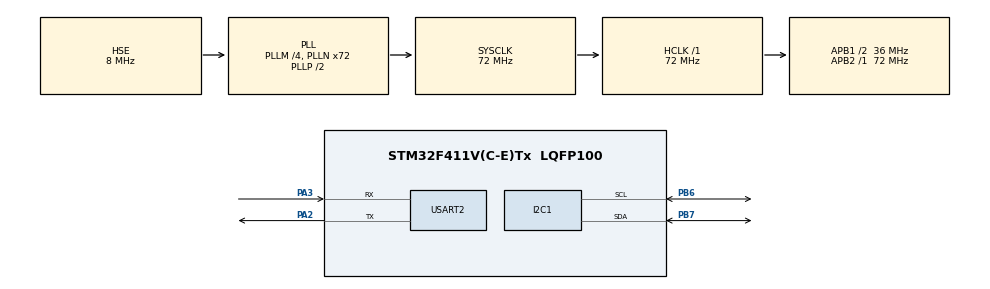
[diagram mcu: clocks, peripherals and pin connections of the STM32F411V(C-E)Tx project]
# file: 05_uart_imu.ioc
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Mcu.Family=STM32F4
Mcu.Name=STM32F411V(C-E)Tx
Mcu.Package=LQFP100
NVIC.PriorityGroup=NVIC_PRIORITYGROUP_4
PA2.Mode=Asynchronous
PA2.Signal=USART2_TX
PA3.Mode=Asynchronous
PA3.Signal=USART2_RX
PB6.Mode=I2C
PB6.Signal=I2C1_SCL
PB7.Mode=I2C
PB7.Signal=I2C1_SDA
PC14-OSC32_IN.Mode=LSE-External-Oscillator
PC14-OSC32_IN.Signal=RCC_OSC32_IN
PC15-OSC32_OUT.Mode=LSE-External-Oscillator
PC15-OSC32_OUT.Signal=RCC_OSC32_OUT
PH0\ -\ OSC_IN.Mode=HSE-External-Oscillator
PH0\ -\ OSC_IN.Signal=RCC_OSC_IN
PH1\ -\ OSC_OUT.Mode=HSE-External-Oscillator
PH1\ -\ OSC_OUT.Signal=RCC_OSC_OUT
ProjectManager.HeapSize=0x200
ProjectManager.StackSize=0x400
ProjectManager.TargetToolchain=MDK-ARM V5.32
RCC.48MHZClocksFreq_Value=36000000
RCC.AHBFreq_Value=72000000
RCC.APB1CLKDivider=RCC_HCLK_DIV2
RCC.APB1Freq_Value=36000000
RCC.APB1TimFreq_Value=72000000
RCC.APB2Freq_Value=72000000
RCC.APB2TimFreq_Value=72000000
RCC.CortexFreq_Value=72000000
RCC.HCLKFreq_Value=72000000
RCC.HSE_VALUE=8000000
RCC.HSI_VALUE=16000000
RCC.PLLM=4
RCC.PLLN=72
RCC.PLLSourceVirtual=RCC_PLLSOURCE_HSE
RCC.SYSCLKFreq_VALUE=72000000
RCC.SYSCLKSource=RCC_SYSCLKSOURCE_PLLCLK
RCC.VCOOutputFreq_Value=144000000
USART2.VirtualMode=VM_ASYNC
board=custom

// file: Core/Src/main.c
/* USER CODE BEGIN Header */
/**
  ******************************************************************************
  * @file           : main.c
  * @brief          : Main program body
  ******************************************************************************
  * @attention
  *
  * Copyright (c) 2025 STMicroelectronics.
  * All rights reserved.
  *
  * This software is licensed under terms that can be found in the LICENSE file
  * in the root directory of this software component.
  * If no LICENSE file comes with this software, it is provided AS-IS.
  *
  ******************************************************************************
  */
/* USER CODE END Header */
#include "main.h"
#include "i2c.h"
#include "usart.h"
#include "gpio.h"

void SystemClock_Config(void);
/* USER CODE BEGIN PFP */

#define PUTCHAR_PROTOTYPE int __io_putchar(int ch)
PUTCHAR_PROTOTYPE
{
  /* Place your implementation of fputc here */
  /* e.g. write a character to the USART1 and Loop until the end of transmission */
  HAL_UART_Transmit(&huart2, (uint8_t *)&ch, 1, 0xFFFF);

  return ch;
}

FILE __stdout;

int fputc(int ch, FILE *f){
	HAL_UART_Transmit(&huart2, (uint8_t *)&ch, 1, 0xFFFF);
  return ch;
}

int ferror(FILE *f){
  /* Your implementation of ferror(). */
  return 0;
}
/* USER CODE END PFP */

/* USER CODE BEGIN 0 */
#define MPU6050_ADDR 0x68 << 1
#define MPU6250_ADDR_R (0x68 << 1 | 1)
#define MPU6250_ADDR_W (0x68 << 1)

void MPU6250_Init(void)
{
    uint8_t data = 0x00;  // ??????
    HAL_I2C_Mem_Write(&hi2c1, MPU6050_ADDR, 0x6B, I2C_MEMADD_SIZE_8BIT, &data, 1, HAL_MAX_DELAY);
}

int16_t Accel_X, Accel_Y, Accel_Z;
int16_t Gyro_X, Gyro_Y, Gyro_Z;
uint8_t mpu_data[14];

void MPU6250_ReadData(void)
{
    HAL_I2C_Mem_Read(&hi2c1, MPU6050_ADDR, 0x3B, I2C_MEMADD_SIZE_8BIT, mpu_data, 14, HAL_MAX_DELAY);

    Accel_X = (int16_t)(mpu_data[0] << 8 | mpu_data[1]);
    Accel_Y = (int16_t)(mpu_data[2] << 8 | mpu_data[3]);
    Accel_Z = (int16_t)(mpu_data[4] << 8 | mpu_data[5]);

    Gyro_X  = (int16_t)(mpu_data[8] << 8 | mpu_data[9]);
    Gyro_Y  = (int16_t)(mpu_data[10] << 8 | mpu_data[11]);
    Gyro_Z  = (int16_t)(mpu_data[12] << 8 | mpu_data[13]);
}

float Accel_Xg, Accel_Yg, Accel_Zg;
float Gyro_Xdps, Gyro_Ydps, Gyro_Zdps;

void Convert_MPU_Data(void)
{
    Accel_Xg = Accel_X / 16384.0;
    Accel_Yg = Accel_Y / 16384.0;
    Accel_Zg = Accel_Z / 16384.0;

    Gyro_Xdps = Gyro_X / 131.0;
    Gyro_Ydps = Gyro_Y / 131.0;
    Gyro_Zdps = Gyro_Z / 131.0;
}
/* USER CODE END 0 */

int main(void)
{

  /* MCU Configuration--------------------------------------------------------*/

  /* Reset of all peripherals, Initializes the Flash interface and the Systick. */
  HAL_Init();

  /* Configure the system clock */
  SystemClock_Config();

  /* Initialize all configured peripherals */
  MX_GPIO_Init();
  MX_USART2_UART_Init();
  MX_I2C1_Init();
  /* USER CODE BEGIN 2 */
	char msg[] = "Hello STM32F411!\r\n";
	HAL_UART_Transmit(&huart2, (uint8_t*)msg, sizeof(msg) - 1, 100);

	MPU6250_Init();

  /* USER CODE END 2 */

  /* Infinite loop */
  while (1)
  {

    /* USER CODE BEGIN 3 */

		MPU6250_ReadData();
		Convert_MPU_Data();

		printf("Accel: X=%.2fg Y=%.2fg Z=%.2fg\r\n", Accel_Xg, Accel_Yg, Accel_Zg);
		printf("Gyro: X=%.2f/s Y=%.2f/s Z=%.2f/s\r\n"   , Gyro_Xdps, Gyro_Ydps, Gyro_Zdps);

		HAL_Delay(500);

  }
  /* USER CODE END 3 */
}

void SystemClock_Config(void)
{
  RCC_OscInitTypeDef RCC_OscInitStruct = {0};
  RCC_ClkInitTypeDef RCC_ClkInitStruct = {0};

  /** Configure the main internal regulator output voltage
  */
  __HAL_RCC_PWR_CLK_ENABLE();
  __HAL_PWR_VOLTAGESCALING_CONFIG(PWR_REGULATOR_VOLTAGE_SCALE1);

  /** Initializes the RCC Oscillators according to the specified parameters
  * in the RCC_OscInitTypeDef structure.
  */
  RCC_OscInitStruct.OscillatorType = RCC_OSCILLATORTYPE_HSE;
  RCC_OscInitStruct.HSEState = RCC_HSE_ON;
  RCC_OscInitStruct.PLL.PLLState = RCC_PLL_ON;
  RCC_OscInitStruct.PLL.PLLSource = RCC_PLLSOURCE_HSE;
  RCC_OscInitStruct.PLL.PLLM = 4;
  RCC_OscInitStruct.PLL.PLLN = 72;
  RCC_OscInitStruct.PLL.PLLP = RCC_PLLP_DIV2;
  RCC_OscInitStruct.PLL.PLLQ = 4;
  if (HAL_RCC_OscConfig(&RCC_OscInitStruct) != HAL_OK)
  {
    Error_Handler();
  }

  /** Initializes the CPU, AHB and APB buses clocks
  */
  RCC_ClkInitStruct.ClockType = RCC_CLOCKTYPE_HCLK|RCC_CLOCKTYPE_SYSCLK
                              |RCC_CLOCKTYPE_PCLK1|RCC_CLOCKTYPE_PCLK2;
  RCC_ClkInitStruct.SYSCLKSource = RCC_SYSCLKSOURCE_PLLCLK;
  RCC_ClkInitStruct.AHBCLKDivider = RCC_SYSCLK_DIV1;
  RCC_ClkInitStruct.APB1CLKDivider = RCC_HCLK_DIV2;
  RCC_ClkInitStruct.APB2CLKDivider = RCC_HCLK_DIV1;

  if (HAL_RCC_ClockConfig(&RCC_ClkInitStruct, FLASH_LATENCY_2) != HAL_OK)
  {
    Error_Handler();
  }
}

void Error_Handler(void)
{
  __disable_irq();
  while (1)
  {
  }
}
